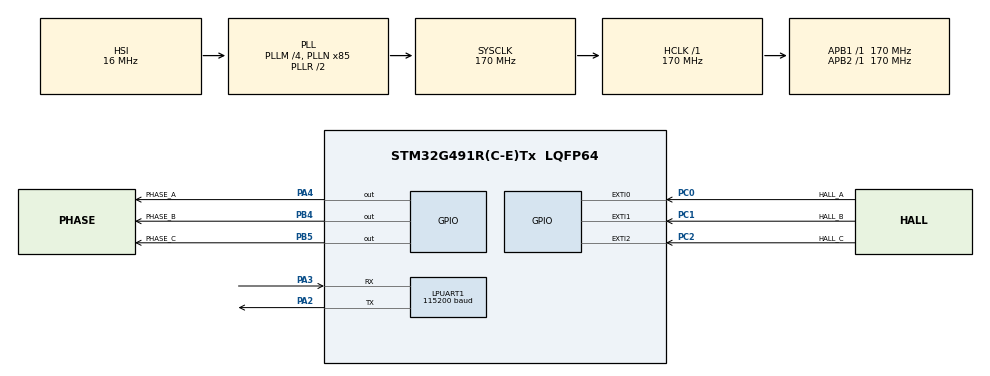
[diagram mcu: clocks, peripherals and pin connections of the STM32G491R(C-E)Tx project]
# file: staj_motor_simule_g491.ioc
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LPUART1.BaudRate=115200
Mcu.Family=STM32G4
Mcu.Name=STM32G491R(C-E)Tx
Mcu.Package=LQFP64
NVIC.EXTI0_IRQn=true\:5\:0\:false\:false\:true\:true\:true\:true
NVIC.EXTI1_IRQn=true\:5\:0\:false\:false\:true\:true\:true\:true
NVIC.EXTI2_IRQn=true\:5\:0\:false\:false\:true\:true\:true\:true
NVIC.PriorityGroup=NVIC_PRIORITYGROUP_4
PA13.Mode=Serial_Wire
PA13.Signal=SYS_JTMS-SWDIO
PA14.Mode=Serial_Wire
PA14.Signal=SYS_JTCK-SWCLK
PA2.Mode=Asynchronous
PA2.Signal=LPUART1_TX
PA2.TagName=VCP_TX
PA3.Mode=Asynchronous
PA3.Signal=LPUART1_RX
PA3.TagName=VCP_RX
PA4.GPIO_Label=PHASE_A
PA4.Signal=GPIO_Output
PB4.GPIO_Label=PHASE_B
PB4.Signal=GPIO_Output
PB5.GPIO_Label=PHASE_C
PB5.Signal=GPIO_Output
PC0.GPIO_Label=HALL_A
PC0.GPIO_ModeDefaultEXTI=GPIO_MODE_IT_RISING_FALLING
PC0.GPIO_PuPd=GPIO_PULLUP
PC0.Signal=GPXTI0
PC1.GPIO_Label=HALL_B
PC1.GPIO_ModeDefaultEXTI=GPIO_MODE_IT_RISING_FALLING
PC1.GPIO_PuPd=GPIO_PULLUP
PC1.Signal=GPXTI1
PC2.GPIO_Label=HALL_C
PC2.GPIO_ModeDefaultEXTI=GPIO_MODE_IT_RISING_FALLING
PC2.GPIO_PuPd=GPIO_PULLUP
PC2.Signal=GPXTI2
ProjectManager.HeapSize=0x200
ProjectManager.StackSize=0x400
ProjectManager.TargetToolchain=STM32CubeIDE
RCC.ADC12Freq_Value=170000000
RCC.ADC345Freq_Value=170000000
RCC.AHBFreq_Value=170000000
RCC.APB1Freq_Value=170000000
RCC.APB1TimFreq_Value=170000000
RCC.APB2Freq_Value=170000000
RCC.APB2TimFreq_Value=170000000
RCC.CortexFreq_Value=170000000
RCC.EXTERNAL_CLOCK_VALUE=12288000
RCC.HCLKFreq_Value=170000000
RCC.HSE_VALUE=24000000
RCC.HSI48_VALUE=48000000
RCC.HSI_VALUE=16000000
RCC.LSE_VALUE=32768
RCC.PLLM=RCC_PLLM_DIV4
RCC.PLLN=85
RCC.RTCClockSelection=RCC_RTCCLKSOURCE_LSE
RCC.SYSCLKFreq_VALUE=170000000
RCC.SYSCLKSource=RCC_SYSCLKSOURCE_PLLCLK
RCC.USBFreq_Value=48000000
RCC.VCOOutputFreq_Value=340000000
VP_SYS_VS_DBSignals.Mode=DisableDeadBatterySignals
board=NUCLEO-G491RE

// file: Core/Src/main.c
/* USER CODE BEGIN Header */
/**
  ******************************************************************************
  * @file           : main.c
  * @brief          : Main program body
  ******************************************************************************
  * @attention
  *
  * Copyright (c) 2026 STMicroelectronics.
  * All rights reserved.
  *
  * This software is licensed under terms that can be found in the LICENSE file
  * in the root directory of this software component.
  * If no LICENSE file comes with this software, it is provided AS-IS.
  *
  ******************************************************************************
  */
/* USER CODE END Header */
#include "main.h"

/* USER CODE BEGIN Includes */
#include <stdio.h>

/* USER CODE END Includes */

/* USER CODE BEGIN PTD */
typedef uint8_t PhaseState_t;

enum
{
  PHASE_FLOAT = 0U,
  PHASE_LOW   = 1U,
  PHASE_HIGH  = 2U
};

/* Her faz iki bit ile tutulur: 0=FLOAT, 1=LOW, 2=HIGH. */
typedef union
{
  struct
  {
    uint8_t phase_a  : 2;
    uint8_t phase_b  : 2;
    uint8_t phase_c  : 2;
    uint8_t reserved : 2;
  } bits;
  uint8_t val;
} U_PHASE;

typedef union
{
  struct
  {
    uint8_t hall_c : 1;
    uint8_t hall_b : 1;
    uint8_t hall_a : 1;
    uint8_t reserved : 5;
  } bits;
  uint8_t val;
} HALL_RAW;

typedef struct
{
  uint8_t raw;
  int8_t step_index;
  int8_t direction;
  uint32_t electrical_rpm;
  uint32_t mechanical_rpm;
  uint32_t last_transition_ms;
  uint8_t valid;
} HallTelemetry_t;
/* USER CODE END PTD */

/* USER CODE BEGIN PD */
#define MOTOR_STEP_COUNT            6U
#define MOTOR_STEP_PERIOD_MS      200U
/* 1: Test için Hall kodlarını yazılımsal üret. 0: PC0/PC1/PC2'den gerçek Hall oku. */
#define HALL_SIMULATION_ENABLED     0U
#define HALL_INPUT_SETTLE_MS        5U
#define HALL_STOP_TIMEOUT_MS     1000U
#define HALL_TELEMETRY_PERIOD_MS  500U
/* Gerçek mekanik RPM için motorun veri sayfasındaki kutup çifti sayısını gir. */
#define MOTOR_POLE_PAIR_COUNT       6U
#define HALL_INVALID_RAW         0xFFU
#define HALL_INVALID_STEP          (-1)

/* USER CODE END PD */

UART_HandleTypeDef hlpuart1;

/* USER CODE BEGIN PV */

/* O anda GPIO'lara uygulanan A/B/C faz durumu. */
static U_PHASE phases;

/* Her komutasyon adımı doğrudan U_PHASE bit alanlarıyla tanımlanır. */
static const U_PHASE commutation_table[MOTOR_STEP_COUNT] =
{
  { .bits = { PHASE_HIGH,  PHASE_LOW,   PHASE_FLOAT, 0U } },
  { .bits = { PHASE_HIGH,  PHASE_FLOAT, PHASE_LOW,   0U } },
  { .bits = { PHASE_FLOAT, PHASE_HIGH,  PHASE_LOW,   0U } },
  { .bits = { PHASE_LOW,   PHASE_HIGH,  PHASE_FLOAT, 0U } },
  { .bits = { PHASE_LOW,   PHASE_FLOAT, PHASE_HIGH,  0U } },
  { .bits = { PHASE_FLOAT, PHASE_LOW,   PHASE_HIGH,  0U } }
};

/* Geçerli altı-adım dizisi için Hall kodları: ABC = 001, 101, 100, 110, 010, 011. */
#if HALL_SIMULATION_ENABLED
static const uint8_t hall_sequence[MOTOR_STEP_COUNT] =
{
  0x01U, 0x05U, 0x04U, 0x06U, 0x02U, 0x03U
};
#endif

/* İndis ham ABC Hall kodudur: 000...111; -1 geçersiz olan 000/111 içindir. */
static const int8_t hall_to_step[8] =
{
  HALL_INVALID_STEP, 0, 4, 5, 2, 1, 3, HALL_INVALID_STEP
};

static HallTelemetry_t hall_telemetry =
{
  HALL_INVALID_RAW, HALL_INVALID_STEP, 0, 0U, 0U, 0U, 0U
};

static uint8_t phase_step_index;
static uint32_t last_telemetry_ms;

#if HALL_SIMULATION_ENABLED
static uint8_t simulation_index;
#else
static uint8_t hall_candidate_raw = HALL_INVALID_RAW;
static uint32_t hall_candidate_since_ms;
#endif

static char telemetry_line[96];

static const char chart_legend[] =
  "BLDC HALL TELEMETRY | HALL=ABC | A/B/C: 1=HIGH -1=LOW 0=FLOAT\r\n";

/* USER CODE END PV */

void SystemClock_Config(void);
static void MX_GPIO_Init(void);
static void MX_LPUART1_UART_Init(void);
/* USER CODE BEGIN PFP */

static void Set_Phase(GPIO_TypeDef *port, uint16_t pin, PhaseState_t state);
#if !HALL_SIMULATION_ENABLED
static uint8_t Hall_ReadRaw(void);
#endif
static int8_t Hall_GetDirection(int8_t previous_step, int8_t next_step);
static int8_t Phase_ToTelemetryValue(PhaseState_t state);
static void Phase_ApplyStep(uint8_t step_index);
#if HALL_SIMULATION_ENABLED
static void Motor_AdvancePhase(uint32_t event_ms);
#endif
static void Hall_SendTelemetry(void);
static void Hall_Process(uint8_t raw_hall, uint32_t event_ms);
static void Hall_PollInput(uint32_t now_ms);
static void Hall_CheckStop(uint32_t now_ms);
static void Hall_SendPeriodicTelemetry(uint32_t now_ms);

/* USER CODE END PFP */

int main(void)
{

  /* MCU Configuration--------------------------------------------------------*/

  /* Reset of all peripherals, Initializes the Flash interface and the Systick. */
  HAL_Init();

  /* Configure the system clock */
  SystemClock_Config();

  /* Initialize all configured peripherals */
  MX_GPIO_Init();
  MX_LPUART1_UART_Init();
  /* USER CODE BEGIN 2 */

  uint32_t last_step_ms = HAL_GetTick();

  (void)HAL_UART_Transmit(&hlpuart1,
                          (uint8_t *)chart_legend,
                          (uint16_t)(sizeof(chart_legend) - 1U),
                          100U);

  phase_step_index = 0U;
  Phase_ApplyStep(phase_step_index);

#if HALL_SIMULATION_ENABLED
  simulation_index = 0U;
  Hall_Process(hall_sequence[simulation_index], last_step_ms);
#else
  /* Açılışta PC0/PC1/PC2 üzerindeki mevcut ESP Hall durumunu bir kez bildir. */
  hall_candidate_raw = Hall_ReadRaw();
  hall_candidate_since_ms = last_step_ms;
  Hall_Process(hall_candidate_raw, last_step_ms);
#endif

  /* USER CODE END 2 */

  /* Infinite loop */
  while (1)
  {

    /* USER CODE BEGIN 3 */
    const uint32_t now_ms = HAL_GetTick();

#if HALL_SIMULATION_ENABLED
    if ((uint32_t)(now_ms - last_step_ms) >= MOTOR_STEP_PERIOD_MS)
    {
      last_step_ms += MOTOR_STEP_PERIOD_MS;
      Motor_AdvancePhase(now_ms);
    }
#endif

    Hall_PollInput(now_ms);

    Hall_CheckStop(now_ms);

    Hall_SendPeriodicTelemetry(now_ms);
  }
  /* USER CODE END 3 */
}

void SystemClock_Config(void)
{
  RCC_OscInitTypeDef RCC_OscInitStruct = {0};
  RCC_ClkInitTypeDef RCC_ClkInitStruct = {0};

  /** Configure the main internal regulator output voltage
  */
  HAL_PWREx_ControlVoltageScaling(PWR_REGULATOR_VOLTAGE_SCALE1_BOOST);

  /** Initializes the RCC Oscillators according to the specified parameters
  * in the RCC_OscInitTypeDef structure.
  */
  RCC_OscInitStruct.OscillatorType = RCC_OSCILLATORTYPE_HSI;
  RCC_OscInitStruct.HSIState = RCC_HSI_ON;
  RCC_OscInitStruct.HSICalibrationValue = RCC_HSICALIBRATION_DEFAULT;
  RCC_OscInitStruct.PLL.PLLState = RCC_PLL_ON;
  RCC_OscInitStruct.PLL.PLLSource = RCC_PLLSOURCE_HSI;
  RCC_OscInitStruct.PLL.PLLM = RCC_PLLM_DIV4;
  RCC_OscInitStruct.PLL.PLLN = 85;
  RCC_OscInitStruct.PLL.PLLP = RCC_PLLP_DIV2;
  RCC_OscInitStruct.PLL.PLLQ = RCC_PLLQ_DIV2;
  RCC_OscInitStruct.PLL.PLLR = RCC_PLLR_DIV2;
  if (HAL_RCC_OscConfig(&RCC_OscInitStruct) != HAL_OK)
  {
    Error_Handler();
  }

  /** Initializes the CPU, AHB and APB buses clocks
  */
  RCC_ClkInitStruct.ClockType = RCC_CLOCKTYPE_HCLK|RCC_CLOCKTYPE_SYSCLK
                              |RCC_CLOCKTYPE_PCLK1|RCC_CLOCKTYPE_PCLK2;
  RCC_ClkInitStruct.SYSCLKSource = RCC_SYSCLKSOURCE_PLLCLK;
  RCC_ClkInitStruct.AHBCLKDivider = RCC_SYSCLK_DIV1;
  RCC_ClkInitStruct.APB1CLKDivider = RCC_HCLK_DIV1;
  RCC_ClkInitStruct.APB2CLKDivider = RCC_HCLK_DIV1;

  if (HAL_RCC_ClockConfig(&RCC_ClkInitStruct, FLASH_LATENCY_4) != HAL_OK)
  {
    Error_Handler();
  }
}

static void MX_LPUART1_UART_Init(void)
{

  hlpuart1.Instance = LPUART1;
  hlpuart1.Init.BaudRate = 115200;
  hlpuart1.Init.WordLength = UART_WORDLENGTH_8B;
  hlpuart1.Init.StopBits = UART_STOPBITS_1;
  hlpuart1.Init.Parity = UART_PARITY_NONE;
  hlpuart1.Init.Mode = UART_MODE_TX_RX;
  hlpuart1.Init.HwFlowCtl = UART_HWCONTROL_NONE;
  hlpuart1.Init.OneBitSampling = UART_ONE_BIT_SAMPLE_DISABLE;
  hlpuart1.Init.ClockPrescaler = UART_PRESCALER_DIV1;
  hlpuart1.AdvancedInit.AdvFeatureInit = UART_ADVFEATURE_NO_INIT;
  if (HAL_UART_Init(&hlpuart1) != HAL_OK)
  {
    Error_Handler();
  }
  if (HAL_UARTEx_SetTxFifoThreshold(&hlpuart1, UART_TXFIFO_THRESHOLD_1_8) != HAL_OK)
  {
    Error_Handler();
  }
  if (HAL_UARTEx_SetRxFifoThreshold(&hlpuart1, UART_RXFIFO_THRESHOLD_1_8) != HAL_OK)
  {
    Error_Handler();
  }
  if (HAL_UARTEx_DisableFifoMode(&hlpuart1) != HAL_OK)
  {
    Error_Handler();
  }

}

static void MX_GPIO_Init(void)
{
  GPIO_InitTypeDef GPIO_InitStruct = {0};

  /* GPIO Ports Clock Enable */
  __HAL_RCC_GPIOC_CLK_ENABLE();
  __HAL_RCC_GPIOA_CLK_ENABLE();
  __HAL_RCC_GPIOB_CLK_ENABLE();

  /*Configure GPIO pin Output Level */
  HAL_GPIO_WritePin(PHASE_A_GPIO_Port, PHASE_A_Pin, GPIO_PIN_RESET);

  /*Configure GPIO pin Output Level */
  HAL_GPIO_WritePin(GPIOB, PHASE_B_Pin|PHASE_C_Pin, GPIO_PIN_RESET);

  /*Configure GPIO pins : HALL_A_Pin HALL_B_Pin HALL_C_Pin */
  GPIO_InitStruct.Pin = HALL_A_Pin|HALL_B_Pin|HALL_C_Pin;
  GPIO_InitStruct.Mode = GPIO_MODE_IT_RISING_FALLING;
  GPIO_InitStruct.Pull = GPIO_PULLUP;
  HAL_GPIO_Init(GPIOC, &GPIO_InitStruct);

  /*Configure GPIO pin : PHASE_A_Pin */
  GPIO_InitStruct.Pin = PHASE_A_Pin;
  GPIO_InitStruct.Mode = GPIO_MODE_OUTPUT_PP;
  GPIO_InitStruct.Pull = GPIO_NOPULL;
  GPIO_InitStruct.Speed = GPIO_SPEED_FREQ_LOW;
  HAL_GPIO_Init(PHASE_A_GPIO_Port, &GPIO_InitStruct);

  /*Configure GPIO pins : PHASE_B_Pin PHASE_C_Pin */
  GPIO_InitStruct.Pin = PHASE_B_Pin|PHASE_C_Pin;
  GPIO_InitStruct.Mode = GPIO_MODE_OUTPUT_PP;
  GPIO_InitStruct.Pull = GPIO_NOPULL;
  GPIO_InitStruct.Speed = GPIO_SPEED_FREQ_LOW;
  HAL_GPIO_Init(GPIOB, &GPIO_InitStruct);

  /* EXTI interrupt init*/
  HAL_NVIC_SetPriority(EXTI0_IRQn, 5, 0);
  HAL_NVIC_EnableIRQ(EXTI0_IRQn);
  HAL_NVIC_SetPriority(EXTI1_IRQn, 5, 0);
  HAL_NVIC_EnableIRQ(EXTI1_IRQn);
  HAL_NVIC_SetPriority(EXTI2_IRQn, 5, 0);
  HAL_NVIC_EnableIRQ(EXTI2_IRQn);

}

/* USER CODE BEGIN 4 */

/* HIGH=3.3 V, LOW=0 V, FLOAT=GPIO input/yüksek empedans. */
static void Set_Phase(GPIO_TypeDef *port, uint16_t pin, PhaseState_t state)
{
  GPIO_InitTypeDef gpio = {0};

  gpio.Pin = pin;
  gpio.Pull = GPIO_NOPULL;
  gpio.Speed = GPIO_SPEED_FREQ_LOW;

  if (state == PHASE_FLOAT)
  {
    gpio.Mode = GPIO_MODE_INPUT;
    HAL_GPIO_Init(port, &gpio);
  }
  else
  {
    gpio.Mode = GPIO_MODE_OUTPUT_PP;
    HAL_GPIO_Init(port, &gpio);
    HAL_GPIO_WritePin(port, pin,
                      (state == PHASE_HIGH) ? GPIO_PIN_SET : GPIO_PIN_RESET);
  }
}

/* Komütasyon tablosundaki gerçek HIGH/LOW/FLOAT durumlarını ESP hatlarına uygular. */
static void Phase_ApplyStep(uint8_t step_index)
{
  phases = commutation_table[step_index];

  Set_Phase(PHASE_A_GPIO_Port, PHASE_A_Pin,
            (PhaseState_t)phases.bits.phase_a);
  Set_Phase(PHASE_B_GPIO_Port, PHASE_B_Pin,
            (PhaseState_t)phases.bits.phase_b);
  Set_Phase(PHASE_C_GPIO_Port, PHASE_C_Pin,
            (PhaseState_t)phases.bits.phase_c);
}

#if HALL_SIMULATION_ENABLED
/* Yalnızca yazılım simülasyonunda kullanılır: komut beklemeden faz dizisini
 * bir sonraki adıma taşır ve karşılık gelen Hall kodunu üretir. Gerçek ESP
 * donanımıyla çalışırken komütasyon Hall_Process() içinden, ESP'den gelen
 * Hall koduna göre tetiklenir (bkz. aşağıdaki sensörlü komütasyon). */
static void Motor_AdvancePhase(uint32_t event_ms)
{
  phase_step_index++;
  if (phase_step_index >= MOTOR_STEP_COUNT)
  {
    phase_step_index = 0U;
  }

  Phase_ApplyStep(phase_step_index);

  simulation_index = phase_step_index;
  Hall_Process(hall_sequence[simulation_index], event_ms);
}
#endif

/* Komşu Hall adımlarının yönünü belirler: +1 ileri, -1 geri, 0 bilinmiyor/geçersiz. */
static int8_t Hall_GetDirection(int8_t previous_step, int8_t next_step)
{
  if ((previous_step < 0) || (next_step < 0))
  {
    return 0;
  }

  if ((uint8_t)next_step == (uint8_t)((previous_step + 1) % MOTOR_STEP_COUNT))
  {
    return 1;
  }

  if ((uint8_t)next_step == (uint8_t)((previous_step + MOTOR_STEP_COUNT - 1) % MOTOR_STEP_COUNT))
  {
    return -1;
  }

  return 0;
}

static int8_t Phase_ToTelemetryValue(PhaseState_t state)
{
  if (state == PHASE_HIGH)
  {
    return 1;
  }

  if (state == PHASE_LOW)
  {
    return -1;
  }

  return 0;
}

/* PyQt'nin kolayca anahtar=değer olarak ayrıştırabileceği tek UART satırı gönderir. */
static void Hall_SendTelemetry(void)
{
  const char *direction = "UNKNOWN";
  U_PHASE hall_phases = phases;
  int length;

  /*
   * UI'deki faz grafiği, ESP'den gelen Hall step'inin komütasyon karşılığını
   * gösterir. Fiziksel PA4/PB4/PB5 sürüşü bundan bağımsız olarak HIGH/LOW/FLOAT
   * üretmeye devam eder.
   */
  if ((hall_telemetry.valid != 0U) &&
      (hall_telemetry.step_index >= 0) &&
      ((uint8_t)hall_telemetry.step_index < MOTOR_STEP_COUNT))
  {
    hall_phases = commutation_table[(uint8_t)hall_telemetry.step_index];
  }

  if (hall_telemetry.direction > 0)
  {
    direction = "FWD";
  }
  else if (hall_telemetry.direction < 0)
  {
    direction = "REV";
  }

  length = snprintf(telemetry_line, sizeof(telemetry_line),
                    "HALL,raw=%u%u%u,step=%d,dir=%s,rpm=%lu,a=%d,b=%d,c=%d,valid=%u\r\n",
                    (unsigned int)((hall_telemetry.raw >> 2U) & 1U),
                    (unsigned int)((hall_telemetry.raw >> 1U) & 1U),
                    (unsigned int)(hall_telemetry.raw & 1U),
                    (int)(hall_telemetry.step_index + 1),
                    direction,
                    (unsigned long)hall_telemetry.mechanical_rpm,
                    (int)Phase_ToTelemetryValue((PhaseState_t)hall_phases.bits.phase_a),
                    (int)Phase_ToTelemetryValue((PhaseState_t)hall_phases.bits.phase_b),
                    (int)Phase_ToTelemetryValue((PhaseState_t)hall_phases.bits.phase_c),
                    (unsigned int)hall_telemetry.valid);

  if (length > 0)
  {
    uint16_t transmit_length = (length < (int)sizeof(telemetry_line)) ?
                               (uint16_t)length : (uint16_t)(sizeof(telemetry_line) - 1U);
    (void)HAL_UART_Transmit(&hlpuart1, (uint8_t *)telemetry_line, transmit_length, 20U);
    last_telemetry_ms = HAL_GetTick();
  }
}

/* Hall örneğini doğrular, STEP'e dönüştürür, hızı hesaplar ve bilgisayara bildirir. */
static void Hall_Process(uint8_t raw_hall, uint32_t event_ms)
{
  const uint8_t raw = raw_hall & 0x07U;
  const int8_t next_step = hall_to_step[raw];
  const int8_t previous_step = hall_telemetry.step_index;
  uint32_t elapsed_ms;

  if (next_step == HALL_INVALID_STEP)
  {
    hall_telemetry.raw = raw;
    hall_telemetry.step_index = HALL_INVALID_STEP;
    hall_telemetry.direction = 0;
    hall_telemetry.electrical_rpm = 0U;
    hall_telemetry.mechanical_rpm = 0U;
    hall_telemetry.valid = 0U;

    Hall_SendTelemetry();
    return;
  }

#if !HALL_SIMULATION_ENABLED
  /*
   * Sensörlü komütasyon: ESP32'nin PC0/PC1/PC2'ye sürdüğü Hall koduna karşılık
   * gelen faz adımı hemen PA4/PB4/PB5 üzerinden uygulanır. ESP32 tarafı bu üç
   * hattı okuyup kendi hallStep'i ile karşılaştırır (stableCommand==hallStep
   * ise ileri, (hallStep+3)%6 ise geri yönde tork uygular); STM32'nin bu
   * hatları ESP'den bağımsız sabit bir zamanlayıcıyla sürmesi bu kapalı
   * çevrimi kırar. Bu yüzden faz çıkışı burada, sabit periyotlu
   * Motor_AdvancePhase() yerine doğrudan Hall geri beslemesiyle güncellenir.
   */
  phase_step_index = (uint8_t)next_step;
  Phase_ApplyStep(phase_step_index);
#endif

  /* Aynı Hall durumu yeni bir ESP verisi değildir; UART'ta tekrar etme. */
  if ((hall_telemetry.valid != 0U) && (previous_step == next_step))
  {
    return;
  }

  hall_telemetry.direction = Hall_GetDirection(previous_step, next_step);
  if (hall_telemetry.valid != 0U)
  {
    elapsed_ms = event_ms - hall_telemetry.last_transition_ms;
    if (elapsed_ms > 0U)
    {
      hall_telemetry.electrical_rpm = 60000U / (MOTOR_STEP_COUNT * elapsed_ms);
      hall_telemetry.mechanical_rpm = hall_telemetry.electrical_rpm / MOTOR_POLE_PAIR_COUNT;
    }
  }

  hall_telemetry.raw = raw;
  hall_telemetry.step_index = next_step;
  hall_telemetry.last_transition_ms = event_ms;
  hall_telemetry.valid = 1U;

  Hall_SendTelemetry();
}

/*
 * Cuma günkü çalışan akıştaki gibi Hall girişlerini sürekli kontrol eder.
 * Aynı kod 5 ms kararlı kalmadan işlenmez; böylece kaçırılan EXTI kenarları da
 * yakalanır ve pinler değişirken oluşabilecek kısa ara değerler UART'a gitmez.
 */
static void Hall_PollInput(uint32_t now_ms)
{
#if !HALL_SIMULATION_ENABLED
  const uint8_t raw_hall = Hall_ReadRaw();

  if (raw_hall != hall_candidate_raw)
  {
    hall_candidate_raw = raw_hall;
    hall_candidate_since_ms = now_ms;
    return;
  }

  if ((raw_hall != hall_telemetry.raw) &&
      ((uint32_t)(now_ms - hall_candidate_since_ms) >= HALL_INPUT_SETTLE_MS))
  {
    Hall_Process(raw_hall, now_ms);
  }
#else
  (void)now_ms;
#endif
}

/* Belirlenen süre boyunca Hall geçişi yoksa UI'ye durmuş motor bilgisini yollar. */
static void Hall_CheckStop(uint32_t now_ms)
{
  if ((hall_telemetry.valid != 0U) && (hall_telemetry.mechanical_rpm != 0U) &&
      ((uint32_t)(now_ms - hall_telemetry.last_transition_ms) >= HALL_STOP_TIMEOUT_MS))
  {
    hall_telemetry.electrical_rpm = 0U;
    hall_telemetry.mechanical_rpm = 0U;
    hall_telemetry.direction = 0;
    Hall_SendTelemetry();
  }
}

#if !HALL_SIMULATION_ENABLED
static uint8_t Hall_ReadRaw(void)
{
  HALL_RAW raw = {0};

  raw.bits.hall_a = (HAL_GPIO_ReadPin(HALL_A_GPIO_Port, HALL_A_Pin) == GPIO_PIN_SET) ? 1U : 0U;
  raw.bits.hall_b = (HAL_GPIO_ReadPin(HALL_B_GPIO_Port, HALL_B_Pin) == GPIO_PIN_SET) ? 1U : 0U;
  raw.bits.hall_c = (HAL_GPIO_ReadPin(HALL_C_GPIO_Port, HALL_C_Pin) == GPIO_PIN_SET) ? 1U : 0U;

  return raw.val;
}

/* Hall okuma ana döngüde polling ile yapılır; EXTI yalnız hızlı uyanma sağlar. */
void HAL_GPIO_EXTI_Callback(uint16_t GPIO_Pin)
{
  (void)GPIO_Pin;
}
#endif

/*
 * UI çalışma sırasında bağlanırsa açılış satırını kaçırabilir. Mevcut gerçek
 * PC0/PC1/PC2 durumu periyodik olarak tekrar bildirilir; Hall geçişleri ise
 * Hall_Process() tarafından beklemeden gönderilmeye devam eder.
 */
static void Hall_SendPeriodicTelemetry(uint32_t now_ms)
{
  if ((uint32_t)(now_ms - last_telemetry_ms) >= HALL_TELEMETRY_PERIOD_MS)
  {
    Hall_SendTelemetry();
  }
}

/* USER CODE END 4 */

void Error_Handler(void)
{
  __disable_irq();
  while (1)
  {
  }
}
